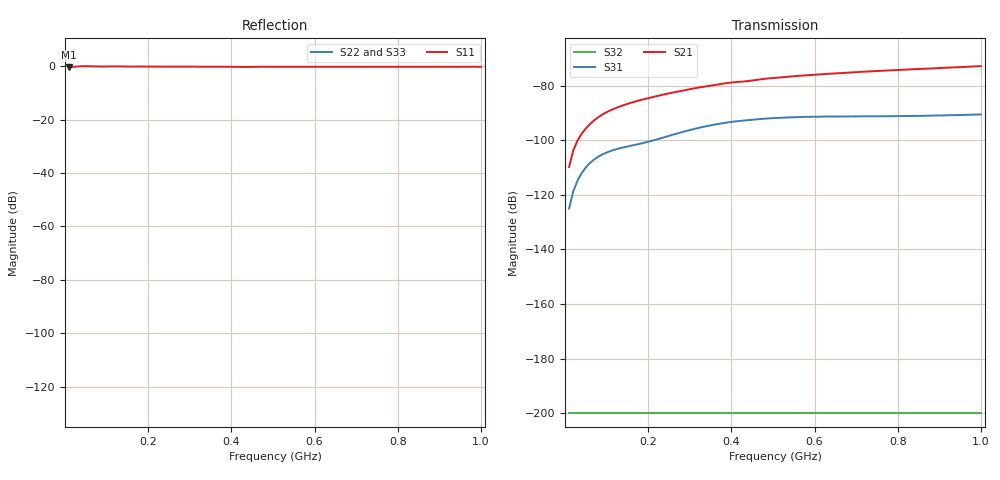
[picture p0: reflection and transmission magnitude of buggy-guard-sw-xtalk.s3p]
! agentee buggy-guard-sw-xtalk
! ports SW SCL VBAT_ADC
# Hz S RI R 50
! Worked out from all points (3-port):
!   100 points, 10 MHz to 1 GHz, reference 50 ohm
!   strongest paths, dB at 10 MHz, 260 MHz, 510 MHz, 760 MHz, 1 GHz:
!     S21: -109.8, -82.5, -77.1, -74.6, -72.9
!     S31: -125.0, -98.0, -91.8, -91.2, -90.6
!     S32: -, -, -, -, -
!   lowest |S11| = -0.3 dB at 10 MHz (marker M1), VSWR 52.48, Z = 2.08e+03 - j1.07e+03 ohm
!   |S11| at or under -10 dB: nowhere
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1e7  0.9624 -0.0188  0 0  0 0
     5.91e-08 3.25e-06  0 0  0 0
     -5.48e-09 5.64e-07  0 0  0 0
5e7  0.9892 -0.1736  0 0  0 0
     2.28e-06 1.62e-05  0 0  0 0
     1.61e-07 3.17e-06  0 0  0 0
1.1e8  0.9173 -0.3807  0 0  0 0
       1.23e-05 3.33e-05  0 0  0 0
       1.67e-06 6.14e-06  0 0  0 0
1.9e8  0.7737 -0.6151  0 0  0 0
       2.99e-05 4.78e-05  0 0  0 0
       2.22e-06 8.7e-06  0 0  0 0
2.6e8  0.6146 -0.7692  0 0  0 0
       4.8e-05 5.73e-05  0 0  0 0
       2.17e-06 1.25e-05  0 0  0 0
3.5e8  0.3908 -0.899  0 0  0 0
       7.74e-05 6.28e-05  0 0  0 0
       4.71e-06 1.81e-05  0 0  0 0
3.8e8  0.316 -0.929  0 0  0 0
       8.9e-05 6.24e-05  0 0  0 0
       6.17e-06 1.96e-05  0 0  0 0
5.1e8  0.013 -0.9772  0 0  0 0
       0.000133 4.32e-05  0 0  0 0
       1.27e-05 2.22e-05  0 0  0 0
7.6e8  -0.4324 -0.8778  0 0  0 0
       0.000184 -3.12e-05  0 0  0 0
       1.74e-05 2.13e-05  0 0  0 0
1e9  -0.6949 -0.6865  0 0  0 0
     0.000197 -0.000113  0 0  0 0
     1.79e-05 2.36e-05  0 0  0 0
